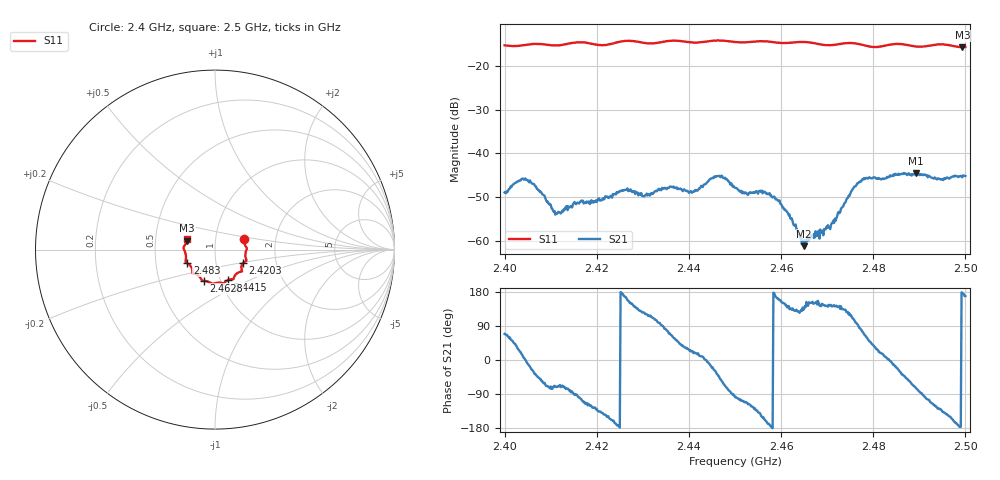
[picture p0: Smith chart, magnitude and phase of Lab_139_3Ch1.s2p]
# Hz S RI R 50
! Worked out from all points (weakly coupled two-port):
!   601 points, 2.4 GHz to 2.5 GHz, reference 50 ohm
!   highest |S21| = -44.45 dB at 2.4893 GHz (marker M1); lowest = -61.2 dB at 2.465 GHz (marker M2)
!   lowest |S11| = -15.7 dB at 2.4993 GHz (marker M3), VSWR 1.39, Z = 36.4 + j3.68 ohm
!   |S11| at or under -10 dB: start of sweep to end of sweep
!   S12 and S22 are empty: the file has one direction only
!   S11 on the Smith chart (normalised r, x): 2.4 GHz: 1.38, +0.16; 2.4203 GHz: 1.35, -0.21; 2.4415 GHz: 1.09, -0.38; 2.4628 GHz: 0.83, -0.30; 2.483 GHz: 0.73, -0.11; 2.5 GHz: 0.73, +0.09
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2.4e9  0.1618 0.0564  0.00129 0.00335  0 0  0 0
2.404167e9  0.1714 0.018  0.005 0.000492  0 0  0 0
2.411e9  0.1695 -0.0206  0.000692 -0.00188  0 0  0 0
2.416667e9  0.1754 -0.0619  -0.000703 -0.00282  0 0  0 0
2.420333e9  0.1561 -0.0747  -0.00219 -0.00214  0 0  0 0
2.426167e9  0.1511 -0.1195  -0.00375 0.000919  0 0  0 0
2.430333e9  0.1304 -0.1278  -0.00183 0.00269  0 0  0 0
2.433333e9  0.1085 -0.148  -0.000599 0.00385  0 0  0 0
2.4415e9  0.0732 -0.169  0.00365 0.00118  0 0  0 0
2.446167e9  0.0487 -0.1886  0.00437 -0.00337  0 0  0 0
2.45e9  0.0299 -0.1846  -0.000565 -0.00401  0 0  0 0
2.458e9  -0.0237 -0.1856  -0.00319 -8.71e-05  0 0  0 0
2.462833e9  -0.0625 -0.1743  -0.000977 0.00116  0 0  0 0
2.465e9  -0.0715 -0.1729  -0.000622 0.000615  0 0  0 0
2.466667e9  -0.0753 -0.1673  -0.000988 0.000542  0 0  0 0
2.471e9  -0.1014 -0.1393  -0.00125 0.001  0 0  0 0
2.477167e9  -0.1253 -0.1233  0.000545 0.00477  0 0  0 0
2.483e9  -0.1542 -0.0763  0.00539 0.000416  0 0  0 0
2.483333e9  -0.1564 -0.0751  0.0054 0.000241  0 0  0 0
2.489333e9  -0.1616 -0.0377  0.00155 -0.00579  0 0  0 0
2.499333e9  -0.1557 0.0493  -0.00534 0.000208  0 0  0 0
2.5e9  -0.1537 0.0579  -0.00542 0.00108  0 0  0 0
